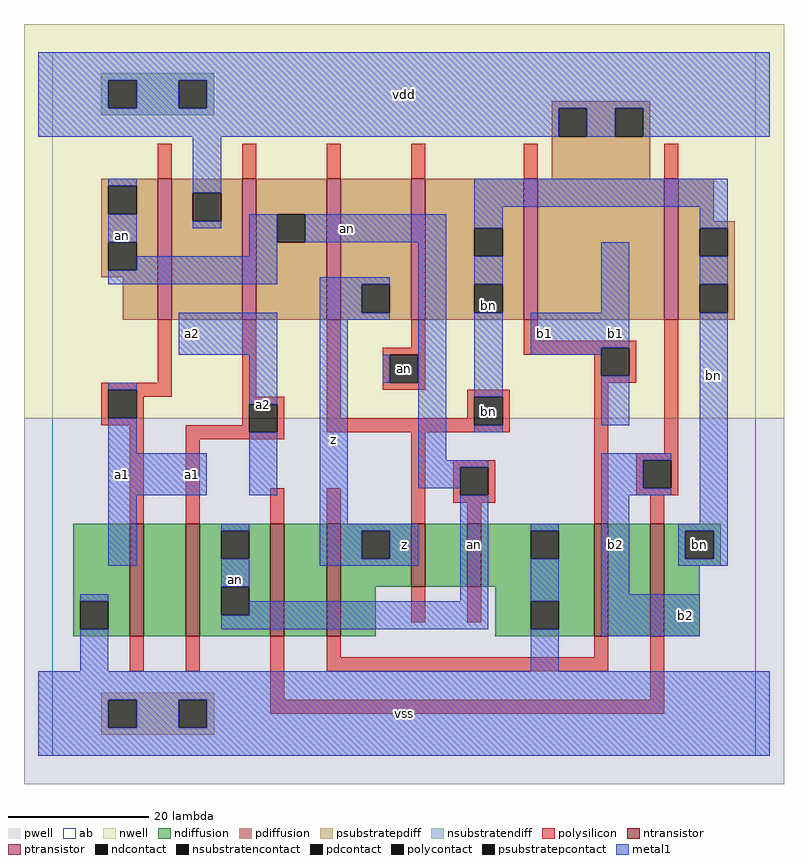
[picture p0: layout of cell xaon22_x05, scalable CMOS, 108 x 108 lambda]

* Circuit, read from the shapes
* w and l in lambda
.subckt xaon22_x05 a1 a2 an b1 b2 bn vdd vss z
M1 n1 a1 vss vss nfet w=16 l=2
M2 an a2 n1 vss nfet w=16 l=2
M3 n2 b2 an vss nfet w=16 l=2
M4 z b1 n2 vss nfet w=16 l=2
M5 n3 bn z vss nfet w=9 l=2
M6 vss an n3 vss nfet w=9 l=2
M7 n4 b1 vss vss nfet w=16 l=2
M8 bn b2 n4 vss nfet w=16 l=2
M9 vdd a1 an vdd pfet w=20 l=2
M10 an a2 vdd vdd pfet w=20 l=2
M11 z bn an vdd pfet w=20 l=2
M12 bn an z vdd pfet w=20 l=2
M13 vdd b1 bn vdd pfet w=20 l=2
M14 bn b2 vdd vdd pfet w=20 l=2
.ends

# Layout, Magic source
magic
tech scmos
<< ab >>
rect 0 0 100 100
<< pwell >>
rect -4 -4 104 48
<< nwell >>
rect -4 48 104 104
<< polysilicon >>
rect 15 82 17 87
rect 27 82 29 87
rect 39 82 41 87
rect 51 82 53 87
rect 67 82 69 87
rect 87 82 89 87
rect 15 53 17 62
rect 7 52 17 53
rect 7 48 8 52
rect 12 51 17 52
rect 27 51 29 62
rect 12 48 13 51
rect 7 47 13 48
rect 27 50 33 51
rect 27 47 28 50
rect 11 33 13 47
rect 19 46 28 47
rect 32 46 33 50
rect 39 48 41 62
rect 51 58 53 62
rect 47 57 53 58
rect 67 59 69 62
rect 67 58 83 59
rect 67 57 78 58
rect 47 53 48 57
rect 52 53 53 57
rect 47 52 53 53
rect 77 54 78 57
rect 82 54 83 58
rect 77 53 83 54
rect 59 51 65 52
rect 59 48 60 51
rect 39 47 60 48
rect 64 47 65 51
rect 39 46 65 47
rect 19 45 33 46
rect 19 33 21 45
rect 31 33 33 38
rect 39 33 41 38
rect 51 33 53 46
rect 57 41 63 42
rect 57 37 58 41
rect 62 37 63 41
rect 57 36 63 37
rect 59 33 61 36
rect 77 33 79 53
rect 87 43 89 62
rect 83 42 89 43
rect 83 38 84 42
rect 88 38 89 42
rect 83 37 89 38
rect 85 33 87 37
rect 51 19 53 24
rect 59 19 61 24
rect 11 12 13 17
rect 19 12 21 17
rect 31 8 33 17
rect 39 14 41 17
rect 77 14 79 17
rect 39 12 79 14
rect 85 8 87 17
rect 31 6 87 8
<< ndiffusion >>
rect 3 22 11 33
rect 3 18 4 22
rect 8 18 11 22
rect 3 17 11 18
rect 13 17 19 33
rect 21 32 31 33
rect 21 28 24 32
rect 28 28 31 32
rect 21 24 31 28
rect 21 20 24 24
rect 28 20 31 24
rect 21 17 31 20
rect 33 17 39 33
rect 41 32 51 33
rect 41 28 44 32
rect 48 28 51 32
rect 41 24 51 28
rect 53 24 59 33
rect 61 32 77 33
rect 61 28 68 32
rect 72 28 77 32
rect 61 24 77 28
rect 41 17 46 24
rect 63 22 77 24
rect 63 18 68 22
rect 72 18 77 22
rect 63 17 77 18
rect 79 17 85 33
rect 87 32 95 33
rect 87 28 90 32
rect 94 28 95 32
rect 87 27 95 28
rect 87 17 92 27
<< pdiffusion >>
rect 71 92 85 93
rect 71 88 72 92
rect 76 88 80 92
rect 84 88 85 92
rect 71 82 85 88
rect 7 81 15 82
rect 7 77 8 81
rect 12 77 15 81
rect 7 73 15 77
rect 7 69 8 73
rect 12 69 15 73
rect 7 68 15 69
rect 10 62 15 68
rect 17 80 27 82
rect 17 76 20 80
rect 24 76 27 80
rect 17 62 27 76
rect 29 77 39 82
rect 29 73 32 77
rect 36 73 39 77
rect 29 62 39 73
rect 41 67 51 82
rect 41 63 44 67
rect 48 63 51 67
rect 41 62 51 63
rect 53 75 67 82
rect 53 71 60 75
rect 64 71 67 75
rect 53 67 67 71
rect 53 63 60 67
rect 64 63 67 67
rect 53 62 67 63
rect 69 62 87 82
rect 89 76 94 82
rect 89 75 97 76
rect 89 71 92 75
rect 96 71 97 75
rect 89 67 97 71
rect 89 63 92 67
rect 96 63 97 67
rect 89 62 97 63
<< metal1 >>
rect -2 96 102 100
rect -2 92 8 96
rect 12 92 18 96
rect 22 92 102 96
rect -2 88 72 92
rect 76 88 80 92
rect 84 88 102 92
rect 8 81 12 82
rect 8 73 12 77
rect 20 80 24 88
rect 60 78 96 82
rect 20 75 24 76
rect 28 71 32 77
rect 36 73 56 77
rect 12 69 32 71
rect 8 67 32 69
rect 38 67 48 68
rect 38 63 44 67
rect 18 57 32 63
rect 8 52 12 53
rect 8 43 12 48
rect 28 50 32 57
rect 8 37 22 43
rect 28 37 32 46
rect 38 62 48 63
rect 8 27 12 37
rect 38 33 42 62
rect 47 53 48 57
rect 52 42 56 73
rect 60 75 64 78
rect 92 75 96 78
rect 60 67 64 71
rect 78 63 82 73
rect 60 51 64 63
rect 68 58 82 63
rect 68 57 78 58
rect 78 47 82 54
rect 92 67 96 71
rect 60 46 64 47
rect 78 42 88 43
rect 52 41 62 42
rect 52 38 58 41
rect 24 32 28 33
rect 24 24 28 28
rect 38 32 52 33
rect 38 28 44 32
rect 48 28 52 32
rect 38 27 52 28
rect 4 22 8 23
rect 58 22 62 37
rect 78 38 84 42
rect 78 37 88 38
rect 28 20 62 22
rect 24 18 62 20
rect 68 32 72 33
rect 68 22 72 28
rect 4 12 8 18
rect 68 12 72 18
rect 78 23 82 37
rect 92 33 96 63
rect 89 32 96 33
rect 89 28 90 32
rect 94 28 96 32
rect 89 27 96 28
rect 78 17 92 23
rect -2 8 102 12
rect -2 4 8 8
rect 12 4 18 8
rect 22 4 102 8
rect -2 0 102 4
<< ntransistor >>
rect 11 17 13 33
rect 19 17 21 33
rect 31 17 33 33
rect 39 17 41 33
rect 51 24 53 33
rect 59 24 61 33
rect 77 17 79 33
rect 85 17 87 33
<< ptransistor >>
rect 15 62 17 82
rect 27 62 29 82
rect 39 62 41 82
rect 51 62 53 82
rect 67 62 69 82
rect 87 62 89 82
<< polycontact >>
rect 8 48 12 52
rect 28 46 32 50
rect 48 53 52 57
rect 78 54 82 58
rect 60 47 64 51
rect 58 37 62 41
rect 84 38 88 42
<< ndcontact >>
rect 4 18 8 22
rect 24 28 28 32
rect 24 20 28 24
rect 44 28 48 32
rect 68 28 72 32
rect 68 18 72 22
rect 90 28 94 32
<< pdcontact >>
rect 72 88 76 92
rect 80 88 84 92
rect 8 77 12 81
rect 8 69 12 73
rect 20 76 24 80
rect 32 73 36 77
rect 44 63 48 67
rect 60 71 64 75
rect 60 63 64 67
rect 92 71 96 75
rect 92 63 96 67
<< psubstratepcontact >>
rect 8 4 12 8
rect 18 4 22 8
<< nsubstratencontact >>
rect 8 92 12 96
rect 18 92 22 96
<< psubstratepdiff >>
rect 7 8 23 9
rect 7 4 8 8
rect 12 4 18 8
rect 22 4 23 8
rect 7 3 23 4
<< nsubstratendiff >>
rect 7 96 23 97
rect 7 92 8 96
rect 12 92 18 96
rect 22 92 23 96
rect 7 91 23 92
<< labels >>
rlabel ntransistor 60 30 60 30 6 an
rlabel polycontact 62 49 62 49 6 bn
rlabel polycontact 50 55 50 55 6 an
rlabel metal1 10 40 10 40 6 a1
rlabel metal1 10 74 10 74 6 an
rlabel metal1 26 25 26 25 6 an
rlabel metal1 20 40 20 40 6 a1
rlabel metal1 30 50 30 50 6 a2
rlabel metal1 20 60 20 60 6 a2
rlabel metal1 50 6 50 6 6 vss
rlabel metal1 50 30 50 30 6 z
rlabel metal1 40 45 40 45 6 z
rlabel polycontact 51 55 51 55 6 an
rlabel metal1 42 75 42 75 6 an
rlabel metal1 50 94 50 94 6 vdd
rlabel metal1 60 30 60 30 6 an
rlabel metal1 70 60 70 60 6 b1
rlabel pdcontact 62 64 62 64 6 bn
rlabel metal1 90 20 90 20 6 b2
rlabel metal1 80 30 80 30 6 b2
rlabel ndcontact 92 30 92 30 6 bn
rlabel metal1 80 60 80 60 6 b1
rlabel metal1 94 54 94 54 6 bn
<< end >>
